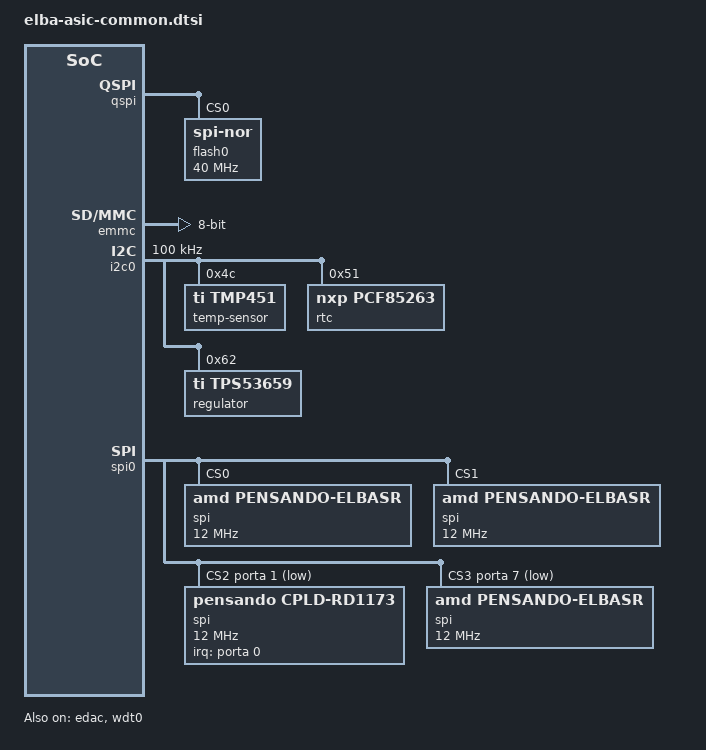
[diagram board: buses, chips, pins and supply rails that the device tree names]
// SPDX-License-Identifier: GPL-2.0

#include <dt-bindings/reset/amd,pensando-elba-reset.h>

&ahb_clk {
	clock-frequency = <400000000>;
};

&emmc_clk {
	clock-frequency = <200000000>;
};

&flash_clk {
	clock-frequency = <400000000>;
};

&ref_clk {
	clock-frequency = <156250000>;
};

&qspi {
	status = "okay";
	flash0: flash@0 {
		compatible = "jedec,spi-nor";
		reg = <0>;
		spi-max-frequency = <40000000>;
		spi-rx-bus-width = <2>;
		m25p,fast-read;
		cdns,read-delay = <0>;
		cdns,tshsl-ns = <0>;
		cdns,tsd2d-ns = <0>;
		cdns,tchsh-ns = <0>;
		cdns,tslch-ns = <0>;
	};
};

&gpio0 {
	status = "ok";
};

&emmc {
	bus-width = <8>;
	cap-mmc-hw-reset;
	reset-names = "hw";
	resets = <&rstc EMMC_HW_RESET>;
	status = "ok";
};

&edac {
	status = "okay";
};

&wdt0 {
	status = "okay";
};

&i2c0 {
	clock-frequency = <100000>;
	status = "okay";
	temp-sensor@4c {
		compatible = "ti,tmp451";
		reg = <0x4c>;
	};

	rtc@51 {
		compatible = "nxp,pcf85263";
		reg = <0x51>;
	};

	regulator@62 {
		compatible = "ti,tps53659";
		reg = <0x62>;
	};
};

&spi0 {
	num-cs = <4>;
	cs-gpios = <0>, <0>,
		<&porta 1 GPIO_ACTIVE_LOW>, <&porta 7 GPIO_ACTIVE_LOW>;
	status = "okay";
	spi@0 {
		compatible = "amd,pensando-elbasr", "simple-mfd";
		reg = <0>;
		#address-cells = <1>;
		#size-cells = <0>;
		spi-max-frequency = <12000000>;

		rstc: reset-controller@0 {
			compatible = "amd,pensando-elbasr-reset";
			reg = <0>;
			#reset-cells = <1>;
		};
	};

	spi@1 {
		compatible = "amd,pensando-elbasr", "simple-mfd";
		reg = <1>;
		spi-max-frequency = <12000000>;
	};

	spi@2 {
		compatible = "pensando,cpld-rd1173";
		reg = <2>;
		spi-max-frequency = <12000000>;
		interrupt-parent = <&porta>;
		interrupts = <0 IRQ_TYPE_LEVEL_LOW>;
	};

	spi@3 {
		compatible = "amd,pensando-elbasr", "simple-mfd";
		reg = <3>;
		spi-max-frequency = <12000000>;
	};
};
